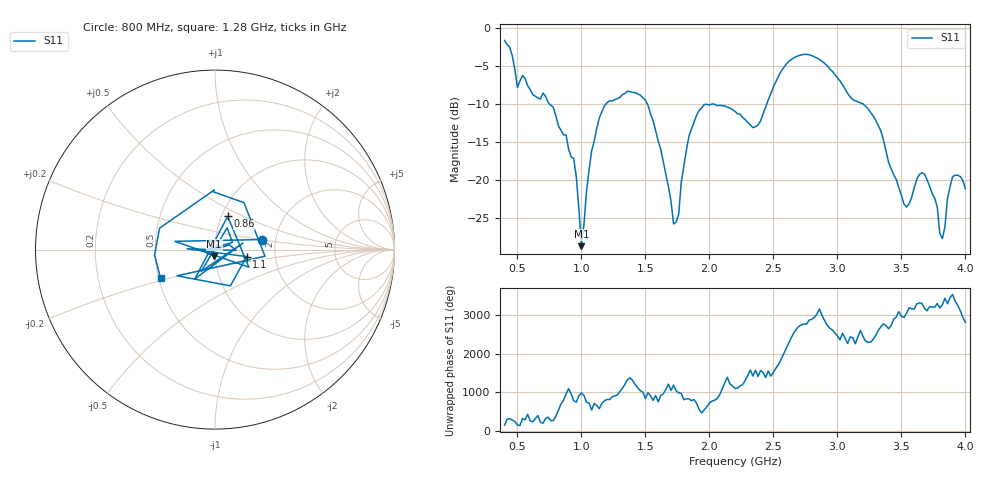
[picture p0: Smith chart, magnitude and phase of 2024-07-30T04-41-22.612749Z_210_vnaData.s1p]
!Created with skrf (http://scikit-rf.org).
# Hz S RI R 50.0
!freq ReS11 ImS11
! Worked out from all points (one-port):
!   181 points, 400 MHz to 4 GHz, reference 50 ohm
!   lowest |S11| = -28.7 dB at 1 GHz (marker M1), VSWR 1.08, Z = 49.4 - j3.61 ohm
!   |S11| at or under -10 dB: 751.7 MHz to 1.192 GHz (440.2 MHz wide, 45.3 % of centre); 1.515 GHz to 2.019 GHz (503.2 MHz wide, 28.5 % of centre); 3.202 GHz to end of sweep (the widest 3 of 4)
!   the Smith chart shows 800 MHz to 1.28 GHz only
!   S11 on the Smith chart (normalised r, x): 800 MHz: 1.68, +0.20; 860 MHz: 1.07, +0.41; 1.1 GHz: 1.42, -0.11; 1.28 GHz: 0.51, -0.19
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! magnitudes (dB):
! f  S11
! 400 MHz  -1.6
! 500 MHz  -7.8
! 540 MHz  -6.3
! 800 MHz  -11.5
! 860 MHz  -14.1
! 940 MHz  -17.1
! 1 GHz  -28.7
! 1.1 GHz  -14.9
! 1.18 GHz  -10.3
! 1.28 GHz  -9.3
! 1.3 GHz  -9.1
! 1.5 GHz  -9.5
! 1.62 GHz  -15.9
! 1.72 GHz  -25.8
! 1.76 GHz  -24.5
! 1.84 GHz  -14.2
! 1.92 GHz  -10.8
! 2.2 GHz  -11.0
! 2.38 GHz  -12.8
! 2.66 GHz  -3.9
! 2.86 GHz  -4.1
! 3.1 GHz  -9.1
! 3.3 GHz  -12.1
! 3.56 GHz  -23.1
! 3.68 GHz  -19.2
! 3.82 GHz  -27.7
! 3.9 GHz  -19.5
! 4 GHz  -21.1
